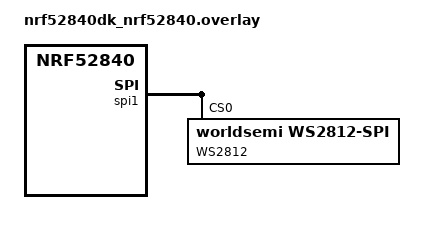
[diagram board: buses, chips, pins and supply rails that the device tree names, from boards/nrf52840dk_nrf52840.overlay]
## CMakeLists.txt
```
# SPDX-License-Identifier: Apache-2.0

cmake_minimum_required(VERSION 3.20.0)

find_package(Zephyr REQUIRED HINTS $ENV{ZEPHYR_BASE})
project(peripheral)

target_sources(app PRIVATE src/main.c)

# Custom files and folders

target_sources(app PRIVATE
    src/sstate_service/sstate.c
    src/trailer_light/trailer_light.c
)

zephyr_library_include_directories(include)
```

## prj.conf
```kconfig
# Configure logger
CONFIG_LOG=y
CONFIG_LOG_BACKEND_UART=y

# Enable Bluetooth
CONFIG_BT=y
CONFIG_BT_DEBUG_LOG=y
CONFIG_BT_PERIPHERAL=y
CONFIG_BT_DEVICE_NAME="TuffTuffLight"

# Enable ws2812 led driver
CONFIG_SPI=y
CONFIG_LED_STRIP=y
CONFIG_WS2812_STRIP=y
CONFIG_LED_STRIP_LOG_LEVEL_DBG=y
```

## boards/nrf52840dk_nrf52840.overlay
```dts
/*
 * Copyright (c) 2019, Nordic Semiconductor ASA
 *
 * SPDX-License-Identifier: Apache-2.0
 */

#include <dt-bindings/led/led.h>

#include "../nrf-ws2812-bindings.h"

/*
 * Overrite spi1 -> is already
 * enabled in the default dt file
 *
 *  &spi1 {
	 *        compatible = "nordic,nrf-spi";
	 *        status = "okay";
	 *        sck-pin = <31>;
	 *        mosi-pin = <30>; -> connect LED-DataIn
	 *        miso-pin = <40>;
 *    };
 */

&spi1 {
	compatible = "nordic,nrf-spim";

	led_strip: ws2812@0 {
		compatible = "worldsemi,ws2812-spi";
		label = "WS2812";

		/* SPI */
		reg = <0>; /* ignored, but necessary for SPI bindings */
		spi-max-frequency = <SPI_FREQ>;

		/* WS2812 */
		chain-length = <PIXEL_COUNT>;
		color-mapping = <LED_COLOR_ID_GREEN
		LED_COLOR_ID_RED
		LED_COLOR_ID_BLUE>;
		spi-one-frame = <ONE_FRAME>;
		spi-zero-frame = <ZERO_FRAME>;
	};
};
```

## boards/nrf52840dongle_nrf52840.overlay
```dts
/*
 * Copyright (c) 2019, Nordic Semiconductor ASA
 *
 * SPDX-License-Identifier: Apache-2.0
 */

#include <dt-bindings/led/led.h>

#include "../nrf-ws2812-bindings.h"

/*
 * Overrite spi1 -> is already
 * enabled in the default dt file
 *
 * &spi1 {
	 *    compatible = "nordic,nrf-spi";
	 *    status = "okay";
	 *    sck-pin = <31>;
	 *    mosi-pin = <30>; P0.30 -> connect LED-IN
	 *    miso-pin = <46>;
 * };
 */

&spi1 {
	compatible = "nordic,nrf-spim";
	mosi-pin = <29>; /* rewrite the pin, because P0.30 is not a available*/

	led_strip: ws2812@0 {
		compatible = "worldsemi,ws2812-spi";
		label = "WS2812";

		/* SPI */
		reg = <0>; /* ignored, but necessary for SPI bindings */
		spi-max-frequency = <SPI_FREQ>;

		/* WS2812 */
		chain-length = <PIXEL_COUNT>;
		color-mapping = <LED_COLOR_ID_GREEN
				 LED_COLOR_ID_RED
				 LED_COLOR_ID_BLUE
				 LED_COLOR_ID_WHITE>;
		spi-one-frame = <ONE_FRAME>;
		spi-zero-frame = <ZERO_FRAME>;

	};
};

/ {
	aliases {
		led-strip = &led_strip;
	};
};
```

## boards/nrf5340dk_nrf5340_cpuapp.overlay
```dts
/*
 * Copyright (c) 2019, Nordic Semiconductor ASA
 *
 * SPDX-License-Identifier: Apache-2.0
 */

#include <dt-bindings/led/led.h>

#include "../nrf-ws2812-bindings.h"

/* 
 * Overrite spi2 -> is already
 * enabled in the default dt file
 *
 * &spi2 {
 *	compatible = "nordic,nrf-spim";
 *	status = "okay";
 *	sck-pin = <47>;
 *	miso-pin = <46>; P1.13 -> connect LED-IN
 *	mosi-pin = <45>;
 * }; 
 */

&spi2 {
	compatible = "nordic,nrf-spim";
	
	led_strip: ws2812@0 {
		compatible = "worldsemi,ws2812-spi";
		label = "WS2812";

		/* SPI */
		reg = <0>; /* ignored, but necessary for SPI bindings */
		spi-max-frequency = <SPI_FREQ>;

		/* WS2812/SK6812 */
		chain-length = <PIXEL_COUNT>;
		color-mapping = <LED_COLOR_ID_GREEN
				 LED_COLOR_ID_RED
				 LED_COLOR_ID_BLUE
				 LED_COLOR_ID_WHITE>;
		spi-one-frame = <ONE_FRAME>;
		spi-zero-frame = <ZERO_FRAME>;

		// has-white-channel = <1>;
	};
};

/ {
	aliases {
		led-strip = &led_strip;
	};
};
```

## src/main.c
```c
/*
 * Copyright (c) 2012-2014 Wind River Systems, Inc.
 *
 * SPDX-License-Identifier: Apache-2.0
 */

#include <zephyr.h>
#include <logging/log.h>

#include "sstate.h"
#include "trailer_light.h"

#define LOG_MODULE_NAME main
LOG_MODULE_REGISTER(LOG_MODULE_NAME);

// this should be half of the host transmission speed
// furthermore, if the connection to the host, it does twice of this time to output the NO_HOST_STATE
#define SLEEP_MS_TIME 100

// current state and marker if the value was updated used by the trailer-light object
static uint8_t tl_state = DRIVE;
static uint8_t tl_update = 0;

// active bluetooth connection if established
static struct bt_conn *current_conn;

// forward declaration of the ble methods
void on_connected(struct bt_conn *conn, uint8_t err);
void on_disconnected(struct bt_conn *conn, uint8_t reason);
void on_data_received(struct bt_conn *conn, const uint8_t *const data, uint16_t len);

// ble connection callbacks
struct bt_conn_cb bluetooth_callbacks = {
	.connected = on_connected,
	.disconnected = on_disconnected,
};

// ble remote callbacks
struct bt_remote_service_cb remote_callbacks = {
	.data_received = on_data_received,
};

// ble on_connected callback implementation
void on_connected(struct bt_conn *conn, uint8_t err)
{
	if (err)
	{
		LOG_ERR("Failed to establish ble connection with err: %d", err);
		return;
	}
	LOG_INF("Successfully ble connection established with central");
	current_conn = bt_conn_ref(conn);
}

// ble on_disconnect callback implementation
void on_disconnected(struct bt_conn *conn, uint8_t reason)
{
	LOG_INF("Disconnected ble connection (reason: %d) with ble central", reason);
	if (current_conn)
	{
		bt_conn_unref(current_conn);
		current_conn = NULL;
	}
}

// ble remote on_data callback -> passed to custom ble GATT called sstate
void on_data_received(struct bt_conn *conn, const uint8_t *const data, uint16_t len)
{
	uint8_t recv = *data;
	LOG_DBG("Received data on conn %p. Len: %d", (void *)conn, len);
	LOG_INF("Received State: %d", recv);

	if (recv >= 0 && recv <= 3)
	{
		// update the state and marker value
		tl_state = recv;
		tl_update = 1;

		int err = trailer_light_update(tl_state);
		if (err)
		{
			LOG_ERR("Failed to update trailer light for action id: %d", tl_state);
		}
	}
	else
	{
		LOG_WRN("Received out of range signal code from central");
	}
}

// main function, start ble and advertise custom GATT (sstate)
void main(void)
{
	int err = 0;

	// start BLE interface and advertizing
	err = sstate_init(&bluetooth_callbacks, &remote_callbacks);
	if (err)
	{
		LOG_ERR("Failed to initiate ble service, returned %d", err);
		return;
	}
	LOG_INF("Finished to initialize the BLE interface and started to advertize the custom GATT");

	// start the trailer light interface -> allows to push states to the leds
	err = trailer_light_init();
	if (err)
	{
		LOG_ERR("Failed to initiate trailer light, returned %d", err);
		return;
	}
	LOG_INF("Finished to initialize trailer light interface");

	// TODO: maybe it's a better idea to use a timer instead of this loop
	// the idea is, that the host updates the current state twice as fast as the
	// peripheral updates the lights, hence the tl_update should be never 0 and
	// always tl_state should always hold the current status.
	// if no update was received from the host, the NO_HOSTE_STATE will be shown
	while (1)
	{
		k_msleep(SLEEP_MS_TIME);
		if (0 == tl_update)
		{
			tl_state = NO_HOST_STATE;
			LOG_WRN("No update received from host, set state to NO_HOST_STATE");
		}

		tl_update = 0;
		int err = trailer_light_update(tl_state);
		if (err)
		{
			LOG_ERR("Failed to update trailer light to new state: %d", tl_state);
		}
	}
}
```

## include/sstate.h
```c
#include <zephyr.h>
#include <logging/log.h>

#include <bluetooth/bluetooth.h>
#include <bluetooth/uuid.h>
#include <bluetooth/gatt.h>
#include <bluetooth/hci.h>

/** @brief UUID of the SimpleState Service. **/
#define BT_UUID_TLIGHT_SERVICE_VAL \
	BT_UUID_128_ENCODE(0xe9ea0001, 0xe19b, 0x482d, 0x9293, 0xc7907585fc48)

/** @brief UUID of the Message Characteristic. **/
#define BT_UUID_TLIGHT_CHANGE_CHRC_VAL \
	BT_UUID_128_ENCODE(0xe9ea0002, 0xe19b, 0x482d, 0x9293, 0xc7907585fc48)

#define BT_UUID_TLIGHT_SERVICE BT_UUID_DECLARE_128(BT_UUID_TLIGHT_SERVICE_VAL)
#define BT_UUID_TLIGHT_CHANGE_CHRC BT_UUID_DECLARE_128(BT_UUID_TLIGHT_CHANGE_CHRC_VAL)

/**
 * @brief struct for internal ble service actions
 * because the service only needs to react on received data a single callback function is needed
 * this function will be passed from the main/app code to react accordingly to the received data
 */
struct bt_remote_service_cb
{
	void (*data_received)(struct bt_conn *conn, const uint8_t *const data, uint16_t len);
};

/*
 * Simple stage service initiation function
 */
int sstate_init(struct bt_conn_cb *bt_cb, struct bt_remote_service_cb *remote_cb);
```

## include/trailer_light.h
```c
#ifndef TRAILER_LIGHT_H
#define TRAILER_LIGHT_H

#include <device.h>
#include <drivers/spi.h>
#include <drivers/led_strip.h>

// define led strip
#define RGBW(_r, _g, _b, _w)                        \
    {                                              \
        .r = (_r), .g = (_g), .b = (_b), .w = (_w) \
    }

static const struct led_rgb color_modes[] = {
    RGBW(0x00, 0x00, 0x00, 0xff), /* reverse */
    RGBW(0xff, 0x00, 0x00, 0x00), /* break */
    RGBW(0xff, 0xff, 0x00, 0x00), /* indicator */
    RGBW(0x40, 0x00, 0x00, 0x00), /* normal */
};

enum STATES
{
    REVERSE = 0,
    BREAK,
    TURN,
    DRIVE
};
#define DEF_STATE DRIVE
#define NO_HOST_STATE DEF_STATE

struct trailer_light
{
    uint8_t state;
};

int trailer_light_init();

int trailer_light_update(enum STATES state);

#endif
```
